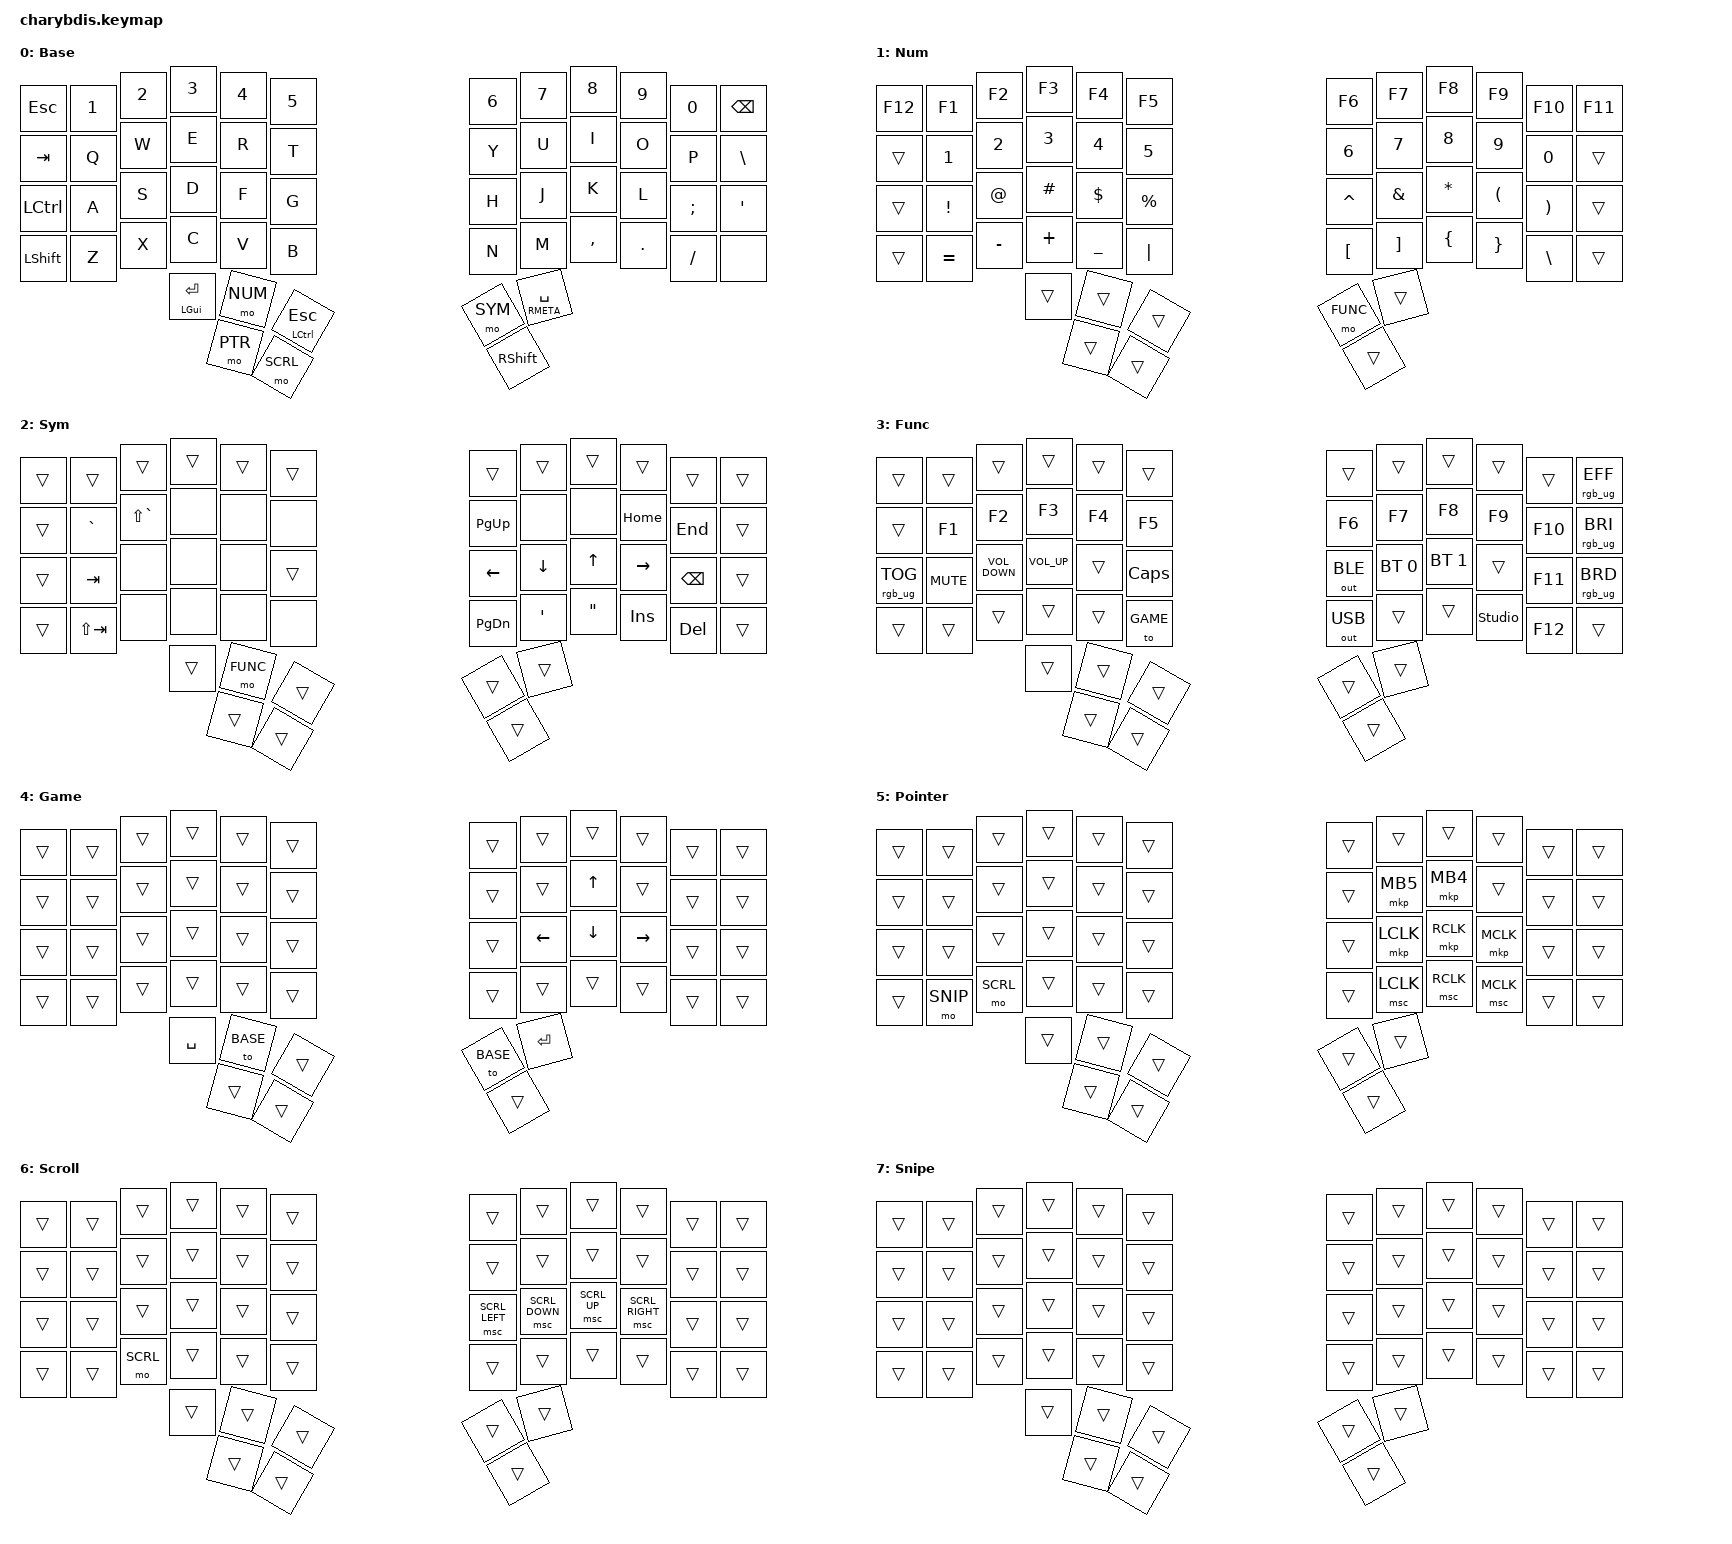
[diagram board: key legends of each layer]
#include <behaviors/mouse_keys.dtsi>
#include <behaviors.dtsi>
#include <dt-bindings/zmk/bt.h>
#include <dt-bindings/zmk/keys.h>
#include <dt-bindings/zmk/mouse.h>
#include <dt-bindings/zmk/outputs.h>
#include <dt-bindings/zmk/rgb.h>

#define BASE 0
#define NUM 1
#define SYM 2
#define FUNC 3
#define GAME 4
#define PTR 5
#define SCRL 6
#define SNIP 7

&sl { release-after-ms = <250>; };

&mt {
    tapping-term-ms = <200>;
    require-prior-idle-ms = <150>;
};

/ {
    #include "combos.dtsi"

    keymap {
        compatible = "zmk,keymap";

        Base {
            label = "Base";
            bindings = <
&kp ESC         &kp N1  &kp N2  &kp N3          &kp N4   &kp N5         &kp N6      &kp N7           &kp N8     &kp N9   &kp N0     &kp BSPC
&kp TAB         &kp Q   &kp W   &kp E           &kp R    &kp T          &kp Y       &kp U            &kp I      &kp O    &kp P      &kp BACKSLASH
&kp LCTRL       &kp A   &kp S   &kp D           &kp F    &kp G          &kp H       &kp J            &kp K      &kp L    &kp SEMI   &kp APOS
&kp LEFT_SHIFT  &kp Z   &kp X   &kp C           &kp V    &kp B          &kp N       &kp M            &kp COMMA  &kp DOT  &kp SLASH  &none
                                &mt LGUI ENTER  &mo NUM  &mt LCTRL ESC  &mo SYM     &mt RMETA SPACE
                                                &mo PTR  &mo SCRL       &kp RSHIFT
            >;
        };

        Num {
            label = "Num";
            bindings = <
&kp F12  &kp F1     &kp F2     &kp F3     &kp F4      &kp F5         &kp F6            &kp F7             &kp F8    &kp F9                &kp F10                &kp F11
&trans   &kp N1     &kp N2     &kp N3     &kp N4      &kp N5         &kp N6            &kp N7             &kp N8    &kp N9                &kp N0                 &trans
&trans   &kp EXCL   &kp AT     &kp POUND  &kp DOLLAR  &kp PERCENT    &kp CARET         &kp AMPERSAND      &kp STAR  &kp LEFT_PARENTHESIS  &kp RIGHT_PARENTHESIS  &trans
&trans   &kp EQUAL  &kp MINUS  &kp PLUS   &kp UNDER   &kp PIPE       &kp LEFT_BRACKET  &kp RIGHT_BRACKET  &kp LBRC  &kp RBRC              &kp BACKSLASH          &trans
                               &trans     &trans      &trans         &mo FUNC          &trans
                                          &trans      &trans         &trans
            >;
        };

        Sym {
            label = "Sym";
            bindings = <
&trans  &trans       &trans         &trans  &trans    &trans            &trans     &trans    &trans             &trans     &trans         &trans
&trans  &kp GRAVE    &kp LS(GRAVE)  &none   &none     &none             &kp PG_UP  &none     &none              &kp HOME   &kp END        &trans
&trans  &kp TAB      &none          &none   &none     &trans            &kp LEFT   &kp DOWN  &kp UP             &kp RIGHT  &kp BACKSPACE  &trans
&trans  &kp LS(TAB)  &none          &none   &none     &none             &kp PG_DN  &kp APOS  &kp DOUBLE_QUOTES  &kp INS    &kp DEL        &trans
                                    &trans  &mo FUNC  &trans            &trans     &trans
                                            &trans    &trans            &trans
            >;
        };

        Func {
            label = "Func";
            bindings = <
&trans           &trans      &trans             &trans        &trans  &trans      &trans        &trans        &trans        &trans          &trans   &rgb_ug RGB_EFF
&trans           &kp F1      &kp F2             &kp F3        &kp F4  &kp F5      &kp F6        &kp F7        &kp F8        &kp F9          &kp F10  &rgb_ug RGB_BRI
&rgb_ug RGB_TOG  &kp K_MUTE  &kp C_VOLUME_DOWN  &kp C_VOL_UP  &trans  &kp CAPS    &out OUT_BLE  &bt BT_SEL 0  &bt BT_SEL 1  &trans          &kp F11  &rgb_ug RGB_BRD
&trans           &trans      &trans             &trans        &trans  &to GAME    &out OUT_USB  &trans        &trans        &studio_unlock  &kp F12  &trans
                                                &trans        &trans  &trans      &trans        &trans
                                                              &trans  &trans      &trans
            >;
        };

        Game {
            label = "Game";
            bindings = <
&trans  &trans  &trans  &trans     &trans    &trans    &trans    &trans     &trans    &trans     &trans  &trans
&trans  &trans  &trans  &trans     &trans    &trans    &trans    &trans     &kp UP    &trans     &trans  &trans
&trans  &trans  &trans  &trans     &trans    &trans    &trans    &kp LEFT   &kp DOWN  &kp RIGHT  &trans  &trans
&trans  &trans  &trans  &trans     &trans    &trans    &trans    &trans     &trans    &trans     &trans  &trans
                        &kp SPACE  &to BASE  &trans    &to BASE  &kp ENTER
                                   &trans    &trans    &trans
            >;
        };

        Ptr {
            label = "Pointer";
            bindings = <
&trans  &trans    &trans    &trans  &trans  &trans  &trans  &trans     &trans     &trans     &trans  &trans
&trans  &trans    &trans    &trans  &trans  &trans  &trans  &mkp MB5   &mkp MB4   &trans     &trans  &trans
&trans  &trans    &trans    &trans  &trans  &trans  &trans  &mkp LCLK  &mkp RCLK  &mkp MCLK  &trans  &trans
&trans  &mo SNIP  &mo SCRL  &trans  &trans  &trans  &trans  &msc LCLK  &msc RCLK  &msc MCLK  &trans  &trans
                            &trans  &trans  &trans  &trans  &trans
                                    &trans  &trans  &trans
            >;
        };

        Scroll {
            label = "Scroll";
            bindings = <
&trans  &trans  &trans    &trans  &trans  &trans  &trans          &trans          &trans        &trans           &trans  &trans
&trans  &trans  &trans    &trans  &trans  &trans  &trans          &trans          &trans        &trans           &trans  &trans
&trans  &trans  &trans    &trans  &trans  &trans  &msc SCRL_LEFT  &msc SCRL_DOWN  &msc SCRL_UP  &msc SCRL_RIGHT  &trans  &trans
&trans  &trans  &mo SCRL  &trans  &trans  &trans  &trans          &trans          &trans        &trans           &trans  &trans
                          &trans  &trans  &trans  &trans          &trans
                                  &trans  &trans  &trans
            >;
        };

        Snipe {
            label = "Snipe";
            bindings = <
&trans  &trans  &trans  &trans  &trans  &trans  &trans  &trans  &trans  &trans  &trans  &trans
&trans  &trans  &trans  &trans  &trans  &trans  &trans  &trans  &trans  &trans  &trans  &trans
&trans  &trans  &trans  &trans  &trans  &trans  &trans  &trans  &trans  &trans  &trans  &trans
&trans  &trans  &trans  &trans  &trans  &trans  &trans  &trans  &trans  &trans  &trans  &trans
                        &trans  &trans  &trans  &trans  &trans
                                &trans  &trans  &trans
            >;
        };
    };
};
